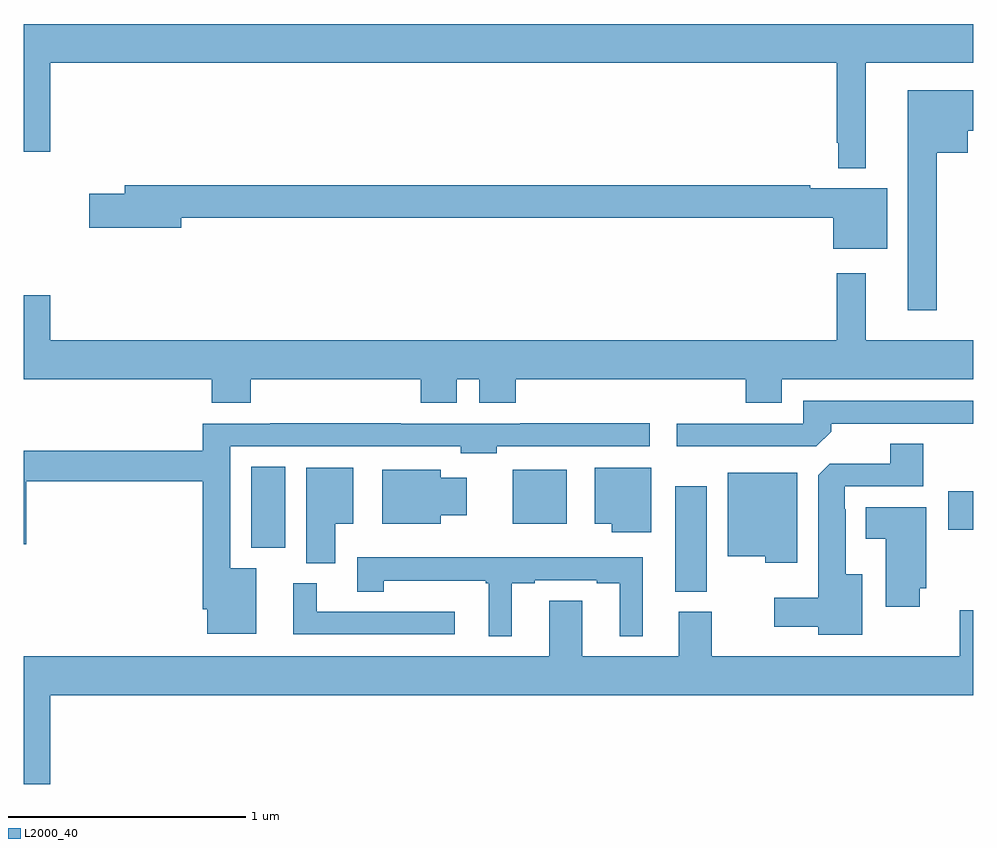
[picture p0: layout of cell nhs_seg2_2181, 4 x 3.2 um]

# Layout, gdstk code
import gdstk
lib = gdstk.Library(unit=1e-6, precision=1e-09)
def R(c, l, rs):  # rectangles x0, y0, x1, y1
    for r in rs: c.add(gdstk.rectangle(r[:2], r[2:], *l))
def P(c, l, *ps):  # polygons
    for p in ps: c.add(gdstk.Polygon(p, *l))
L2000_40 = (2000, 40)

nhs_seg2_2181 = lib.new_cell('nhs_seg2_2181')
R(nhs_seg2_2181, L2000_40, [(227.744,618.769,227.878,619.213), (225.959,618.953,226.102,619.295), (228.894,619.03,229,619.192), (227.06,619.055,227.287,619.282)])
P(nhs_seg2_2181, L2000_40, [(228.547,620.996),(229,620.996),(229,621.16),(225,621.16),(225,620.622),(225.112,620.622),(225.112,620.996),(228.426,620.996),(228.426,620.659),(228.432,620.659),(228.432,620.552),(228.547,620.552)],
  [(228.847,620.618),(228.976,620.618),(228.976,620.711),(229,620.711),(229,620.881),(228.725,620.881),(228.725,619.953),(228.847,619.953)],
  [(228.637,620.467),(228.314,620.467),(228.314,620.48),(225.425,620.48),(225.425,620.444),(225.276,620.444),(225.276,620.302),(225.664,620.302),(225.664,620.344),(228.41,620.344),(228.41,620.213),(228.637,620.213)],
  [(225,620.017),(225,619.664),(225.791,619.664),(225.791,619.565),(225.956,619.565),(225.956,619.664),(226.673,619.664),(226.673,619.565),(226.825,619.565),(226.825,619.664),(226.919,619.664),(226.919,619.565),(227.072,619.565),(227.072,619.664),(228.041,619.664),(228.041,619.565),(228.193,619.565),(228.193,619.664),(229,619.664),(229,619.828),(228.547,619.828),(228.547,620.11),(228.426,620.11),(228.426,619.828),(225.112,619.828),(225.112,620.017)],
  [(228.401,619.442),(228.401,619.476),(229,619.476),(229,619.572),(228.285,619.572),(228.285,619.476),(227.751,619.476),(227.751,619.38),(228.339,619.38)],
  [(225.979,618.868),(225.87,618.868),(225.87,619.38),(226.842,619.38),(226.842,619.352),(226.992,619.352),(226.992,619.38),(227.638,619.38),(227.638,619.478),(227.092,619.478),(227.092,619.476),(226.589,619.476),(226.589,619.478),(226.039,619.478),(226.039,619.476),(225.754,619.476),(225.754,619.363),(225,619.363),(225,618.969),(225.011,618.969),(225.011,619.234),(225.754,619.234),(225.754,618.694),(225.773,618.694),(225.773,618.59),(225.979,618.59)],
  [(228.532,618.841),(228.463,618.841),(228.463,619.115),(228.459,619.115),(228.459,619.212),(228.79,619.212),(228.79,619.391),(228.65,619.391),(228.65,619.308),(228.396,619.308),(228.347,619.259),(228.347,618.742),(228.162,618.742),(228.162,618.62),(228.347,618.62),(228.347,618.587),(228.532,618.587)],
  [(226.312,619.055),(226.387,619.055),(226.387,619.291),(226.19,619.291),(226.19,618.889),(226.312,618.889)],
  [(227.644,619.291),(227.405,619.291),(227.405,619.055),(227.477,619.055),(227.477,619.019),(227.644,619.019)],
  [(226.756,619.091),(226.867,619.091),(226.867,619.249),(226.756,619.249),(226.756,619.282),(226.511,619.282),(226.511,619.055),(226.756,619.055)],
  [(228.259,619.27),(227.966,619.27),(227.966,618.917),(228.123,618.917),(228.123,618.89),(228.259,618.89)],
  [(228.775,618.783),(228.802,618.783),(228.802,619.123),(228.548,619.123),(228.548,618.992),(228.632,618.992),(228.632,618.705),(228.775,618.705)],
  [(227.056,618.804),(227.152,618.804),(227.152,618.816),(227.414,618.816),(227.414,618.804),(227.51,618.804),(227.51,618.581),(227.608,618.581),(227.608,618.913),(226.404,618.913),(226.404,618.769),(226.517,618.769),(226.517,618.815),(226.947,618.815),(226.947,618.804),(226.958,618.804),(226.958,618.581),(227.056,618.581)],
  [(226.816,618.684),(226.234,618.684),(226.234,618.804),(226.136,618.804),(226.136,618.588),(226.816,618.588)],
  [(225.112,618.332),(229,618.332),(229,618.691),(228.944,618.691),(228.944,618.496),(227.899,618.496),(227.899,618.684),(227.759,618.684),(227.759,618.496),(227.353,618.496),(227.353,618.731),(227.213,618.731),(227.213,618.496),(225,618.496),(225,617.958),(225.112,617.958)])

lib.write_gds('nhs_seg2_2181.gds')
